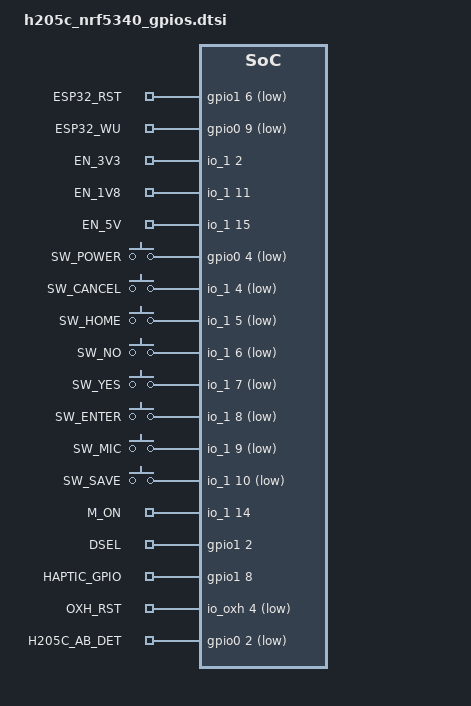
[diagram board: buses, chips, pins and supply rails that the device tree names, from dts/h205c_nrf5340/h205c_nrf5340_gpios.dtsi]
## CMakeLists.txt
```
# Copyright (c) 2021 Acme CPU

cmake_minimum_required(VERSION 3.20.0)

# Add our modules directory to Zephyr Modules
list(APPEND ZEPHYR_EXTRA_MODULES ${CMAKE_CURRENT_SOURCE_DIR}/modules)

# Add our boards directory to Zephyr Boards
#list(APPEND BOARD_ROOT ${CMAKE_CURRENT_SOURCE_DIR}/boards)

set(PROJ_ROOT ${CMAKE_CURRENT_SOURCE_DIR}/)
set(DTS_ROOT ${CMAKE_CURRENT_SOURCE_DIR}/dts)

# H205C-MAIN board secure domain
set(DTC_OVERLAY_FILE "boards/h205c_nrf5340_cpuapp.overlay")
set(BOARD_ROOT ${CMAKE_CURRENT_LIST_DIR})
set(BOARD h205c_nrf5340_cpuapp)

# H205C-MAIN board non-secure domain
#set(DTC_OVERLAY_FILE "boards/h205c_nrf5340_cpuapp_ns.overlay")
#set(BOARD_ROOT ${CMAKE_CURRENT_LIST_DIR})
#set(BOARD h205c_nrf5340_cpuapp_ns)

# nRF5340-DK board
#set(DTC_OVERLAY_FILE "boards/nrf5340dk_nrf5340_cpuapp.overlay")
#set(BOARD_ROOT ${CMAKE_CURRENT_LIST_DIR})
#set(BOARD nrf5340dk_nrf5340_cpuapp)

find_package(Zephyr REQUIRED HINTS $ENV{ZEPHYR_BASE})
project(h20x_nrf5x)

#target_sources(app PRIVATE src/main.c)
add_subdirectory(src)
```

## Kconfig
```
# Copyright (c) 2022 Acme CPU

source "Kconfig"
rsource "src/Kconfig"
```

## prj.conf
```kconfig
# Copyright (c) 2022 Acme CPU

#-------------------------------------------------------------- ARM specific configs
CONFIG_FPU=y

#-------------------------------------------------------------- Main thread
CONFIG_MAIN_STACK_SIZE=4096
CONFIG_SYSTEM_WORKQUEUE_NO_YIELD=y
CONFIG_HEAP_MEM_POOL_SIZE=30720
#CONFIG_MINIMAL_LIBC_MALLOC_ARENA_SIZE=30720
CONFIG_MEM_SLAB_TRACE_MAX_UTILIZATION=y

#-------------------------------------------------------------- System monitoring - Thread analyzer configs
#CONFIG_THREAD_ANALYZER=y
#CONFIG_THREAD_ANALYZER_USE_LOG=y
#CONFIG_THREAD_ANALYZER_USE_PRINTK=y
#CONFIG_THREAD_ANALYZER_AUTO=y
#CONFIG_THREAD_ANALYZER_AUTO_INTERVAL=30

#-------------------------------------------------------------- Compiler configurations
CONFIG_NEWLIB_LIBC=y
#CONFIG_NEWLIB_LIBC_NANO=n
#CONFIG_HAS_NEWLIB_LIBC_NANO=n
CONFIG_NEWLIB_LIBC_FLOAT_PRINTF=y
CONFIG_CBPRINTF_FP_SUPPORT=y
```

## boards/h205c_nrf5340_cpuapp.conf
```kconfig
# Copyright (c) 2021 Acme CPU
# Created on: 19-Oct-2022
# Author: Rohan Dey (rohan@acmecpu.cpm)

#---------------------- Use the NFC pins are GPIOs
CONFIG_NFCT_PINS_AS_GPIOS=y

#-------------------------------------------------------------- I2C and I2C devices
CONFIG_I2C=y
CONFIG_I2C_SHELL=n

CONFIG_GPIO_PCAL9539A=y
CONFIG_GPIO_PCAL9539A_INTERRUPT=y

CONFIG_GPIO_PCA95XX=y
CONFIG_GPIO_PCA95XX_INTERRUPT=n

CONFIG_BQ25611D=y
CONFIG_BQ25611D_INTERRUPT=y

CONFIG_CMX655D=y
#CONFIG_CMX655D_INTERRUPT=y

# ---- sensors
CONFIG_SENSOR=y
CONFIG_BMI270=y
CONFIG_BMP388=y
CONFIG_BMP388_TRIGGER_NONE=y
CONFIG_LTC294X=y
CONFIG_SHMAX30101=y

#-------------------------------------------------------------- SPI and SPI devices
CONFIG_SPI=y

CONFIG_MAX30001=y
CONFIG_MAX30001_INTERRUPT_B=y
CONFIG_MAX30001_INTERRUPT_2B=y

#-------------------------------------------------------------- I2S
CONFIG_I2S=y

#-------------------------------------------------------------- UART
CONFIG_SERIAL=y
CONFIG_CONSOLE=y

CONFIG_UART_CONSOLE=y
CONFIG_STDOUT_CONSOLE=y
CONFIG_UART_INTERRUPT_DRIVEN=y
CONFIG_UART_LINE_CTRL=y

#CONFIG_USE_SEGGER_RTT=y
#CONFIG_RTT_CONSOLE=y
#CONFIG_LOG_BACKEND_RTT=y
CONFIG_LOG_BACKEND_UART=y

#-------------------------------------------------------------- ADC
CONFIG_ADC=y
CONFIG_APP_ANALOG=y
CONFIG_APP_ANALOG_VBAT_R1=2700
CONFIG_APP_ANALOG_VBAT_R2=7500
CONFIG_APP_ANALOG_VBUS_R1=4700
CONFIG_APP_ANALOG_VBUS_R2=7500

#------------ Zephyr Logger configurations
CONFIG_LOG=y
CONFIG_LOG_DEFAULT_LEVEL=3
CONFIG_LOG_MAX_LEVEL=3
CONFIG_LOG_MODE_OVERFLOW=y
CONFIG_LOG_PROCESS_THREAD=y
CONFIG_LOG_PROCESS_THREAD_SLEEP_MS=1000
CONFIG_LOG_PROCESS_THREAD_STACK_SIZE=2048
CONFIG_LOG_BUFFER_SIZE=2048
#CONFIG_LOG_PRINTK=y
#CONFIG_LOG_PRINTK_MAX_STRING_LENGTH=256
#CONFIG_LOG_STRDUP_MAX_STRING=64
CONFIG_LOG_BACKEND_SHOW_COLOR=n
CONFIG_LOG_BACKEND_FORMAT_TIMESTAMP=n

#------------ Zephyr Shell configurations
CONFIG_SHELL=y
CONFIG_SHELL_PROMPT_UART="h20x:~$ "
CONFIG_SHELL_BACKEND_SERIAL=y
CONFIG_SHELL_LOG_BACKEND=n
#CONFIG_SHELL_ECHO_STATUS=n
#CONFIG_SHELL_BACKEND_SERIAL_TX_RING_BUFFER_SIZE=128
#CONFIG_SHELL_BACKEND_SERIAL_RX_RING_BUFFER_SIZE=512
#CONFIG_BOOT_BANNER=n
CONFIG_THREAD_RUNTIME_STATS=n
#CONFIG_SHELL_HISTORY=y
#CONFIG_SHELL_HISTORY_BUFFER=256
#CONFIG_SHELL_STACK_SIZE=2048
#CONFIG_SHELL_CMD_BUFF_SIZE=128
#CONFIG_SHELL_WILDCARD=n
#CONFIG_SHELL_DYNAMIC_CMDS=n
#CONFIG_SHELL_VT100_COLORS=y
#CONFIG_SHELL_STATS=n
#CONFIG_SHELL_CMDS=y
#CONFIG_SHELL_HELP=y
#CONFIG_SHELL_TAB=y
#CONFIG_SHELL_METAKEYS=n
#CONFIG_KERNEL_SHELL=y
#CONFIG_DEVICE_SHELL=y
#CONFIG_DEVMEM_SHELL=n
#CONFIG_POSIX_CLOCK=n
#CONFIG_DATE_SHELL=n
CONFIG_SENSOR_SHELL=n

#-------------------------------------------------------------- USB configurations
CONFIG_USB_DEVICE_STACK=y
CONFIG_USB_DEVICE_PRODUCT="ACPU H20x"
CONFIG_USB_DRIVER_LOG_LEVEL_ERR=y
CONFIG_USB_CDC_ACM_LOG_LEVEL_ERR=y
#CONFIG_USB_CDC_ACM_RINGBUF_SIZE=4096

#-------------------------------------------------------------- Flash and File System configurations
# Need this when storage is on flash
CONFIG_MPU_ALLOW_FLASH_WRITE=y
CONFIG_FLASH=y
CONFIG_FLASH_MAP=y
CONFIG_FLASH_PAGE_LAYOUT=y

CONFIG_FILE_SYSTEM=y
CONFIG_FILE_SYSTEM_LITTLEFS=y

#-------------------------------------------------------------- Other devices
CONFIG_BUZZER_GENERIC=n
CONFIG_H205C_POWER=y

#--------------------------------------------------------------
#-------------------------------------------------------------- Application configurations
#--------------------------------------------------------------
CONFIG_H205C_POWER=y
#CONFIG_APP_WIPE_STORAGE=y

CONFIG_APP_HAS_PRESSURE_SENSOR=y
CONFIG_APP_HAS_TEMPERATURE_SENSOR=y
CONFIG_APP_HAS_IMU_SENSOR=y
CONFIG_APP_HAS_PPG_SENSOR=y
CONFIG_APP_HAS_EKG_SENSOR=y

CONFIG_APP_BATTERY_CHARGE_CURRENT_LIMIT=500
CONFIG_APP_BATTERY_CHARGER_INPUT_CURRENT_LIMIT=500
CONFIG_APP_BATTERY_MAX_CAPACITY_MAH=6600

CONFIG_PUSH_SWITCH_MAX_COUNT=8

CONFIG_LIB_AUDIO=y
```

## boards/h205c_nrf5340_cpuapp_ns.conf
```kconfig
# Copyright (c) 2021 Acme CPU
# Created on: 19-Oct-2022
# Author: Rohan Dey (rohan@acmecpu.cpm)

#---------------------- Use the NFC pins are GPIOs
CONFIG_NFCT_PINS_AS_GPIOS=y

#-------------------------------------------------------------- I2C and I2C devices
CONFIG_I2C=y
CONFIG_I2C_SHELL=n

CONFIG_GPIO_PCAL9539A=y
CONFIG_GPIO_PCAL9539A_INTERRUPT=y

CONFIG_GPIO_PCA95XX=y
CONFIG_GPIO_PCA95XX_INTERRUPT=n

CONFIG_BQ25611D=y
CONFIG_BQ25611D_INTERRUPT=y

CONFIG_CMX655D=y
#CONFIG_CMX655D_INTERRUPT=y

# ---- sensors
CONFIG_SENSOR=y
CONFIG_BMI270=y
CONFIG_BMP388=y
CONFIG_BMP388_TRIGGER_NONE=y
CONFIG_LTC294X=y
CONFIG_SHMAX30101=y

#-------------------------------------------------------------- SPI and SPI devices
CONFIG_SPI=y

CONFIG_MAX30001=y
CONFIG_MAX30001_INTERRUPT_B=y
CONFIG_MAX30001_INTERRUPT_2B=y

#-------------------------------------------------------------- I2S
CONFIG_I2S=y

#-------------------------------------------------------------- UART
CONFIG_SERIAL=y
CONFIG_CONSOLE=y

CONFIG_UART_CONSOLE=y
CONFIG_STDOUT_CONSOLE=y
CONFIG_UART_INTERRUPT_DRIVEN=y
CONFIG_UART_LINE_CTRL=y

#CONFIG_USE_SEGGER_RTT=y
#CONFIG_RTT_CONSOLE=y
#CONFIG_LOG_BACKEND_RTT=y
CONFIG_LOG_BACKEND_UART=y

#------------ Zephyr Logger configurations
CONFIG_LOG=y
CONFIG_LOG_DEFAULT_LEVEL=3
CONFIG_LOG_MAX_LEVEL=3
CONFIG_LOG_MODE_OVERFLOW=y
CONFIG_LOG_PROCESS_THREAD=y
CONFIG_LOG_PROCESS_THREAD_SLEEP_MS=1000
CONFIG_LOG_PROCESS_THREAD_STACK_SIZE=2048
CONFIG_LOG_BUFFER_SIZE=2048
#CONFIG_LOG_PRINTK=y
#CONFIG_LOG_PRINTK_MAX_STRING_LENGTH=256
#CONFIG_LOG_STRDUP_MAX_STRING=64
CONFIG_LOG_BACKEND_SHOW_COLOR=n
CONFIG_LOG_BACKEND_FORMAT_TIMESTAMP=n

#------------ Zephyr Shell configurations
CONFIG_SHELL=y
CONFIG_SHELL_PROMPT_UART="h20x:~$ "

#-------------------------------------------------------------- USB configurations
CONFIG_USB_DEVICE_STACK=y
CONFIG_USB_DEVICE_PRODUCT="ACPU H20x"
CONFIG_USB_DRIVER_LOG_LEVEL_ERR=y
CONFIG_USB_CDC_ACM_LOG_LEVEL_ERR=y
#CONFIG_USB_CDC_ACM_RINGBUF_SIZE=4096

#-------------------------------------------------------------- Flash and File System configurations
# Need this when storage is on flash
CONFIG_MPU_ALLOW_FLASH_WRITE=y
CONFIG_FLASH=y
CONFIG_FLASH_MAP=y
CONFIG_FLASH_PAGE_LAYOUT=y

CONFIG_FILE_SYSTEM=y
CONFIG_FILE_SYSTEM_LITTLEFS=y

#-------------------------------------------------------------- Other devices
CONFIG_BUZZER_GENERIC=y
CONFIG_H205C_POWER=y

#--------------------------------------------------------------
#-------------------------------------------------------------- Application configurations
#--------------------------------------------------------------
CONFIG_H205C_POWER=y
#CONFIG_APP_WIPE_STORAGE=y

CONFIG_APP_HAS_PRESSURE_SENSOR=y
CONFIG_APP_HAS_TEMPERATURE_SENSOR=y
CONFIG_APP_HAS_IMU_SENSOR=y
CONFIG_APP_HAS_PPG_SENSOR=y
```

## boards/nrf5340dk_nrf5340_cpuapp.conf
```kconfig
# Copyright (c) 2021 Acme CPU
# Created on: 19-Oct-2022
# Author: Rohan Dey (rohan@acmecpu.cpm)

#---------------------- Use the NFC pins are GPIOs
CONFIG_NFCT_PINS_AS_GPIOS=y

#-------------------------------------------------------------- I2C and I2C devices
CONFIG_I2C=y
CONFIG_I2C_SHELL=n

#CONFIG_GPIO_PCAL9539A=y
#CONFIG_GPIO_PCAL9539A_INTERRUPT=y

#CONFIG_GPIO_PCA95XX=y
#CONFIG_GPIO_PCA95XX_INTERRUPT=n

#CONFIG_BQ25611D=y
#CONFIG_BQ25611D_INTERRUPT=y

#CONFIG_CMX655D=y
#CONFIG_CMX655D_INTERRUPT=y

# ---- sensors
CONFIG_SENSOR=y
#CONFIG_BMI270=y
#CONFIG_BMP388=y
#CONFIG_BMP388_TRIGGER_NONE=y
#CONFIG_LTC294X=y
CONFIG_SHMAX30101=y

#-------------------------------------------------------------- SPI and SPI devices
#CONFIG_SPI=y

#CONFIG_MAX30001=y
#CONFIG_MAX30001_INTERRUPT_B=y
#CONFIG_MAX30001_INTERRUPT_2B=y

#-------------------------------------------------------------- I2S
#CONFIG_I2S=y

#-------------------------------------------------------------- UART
CONFIG_SERIAL=y
CONFIG_CONSOLE=y

CONFIG_UART_CONSOLE=y
CONFIG_STDOUT_CONSOLE=y
CONFIG_UART_INTERRUPT_DRIVEN=y
CONFIG_UART_LINE_CTRL=y

#CONFIG_USE_SEGGER_RTT=y
#CONFIG_RTT_CONSOLE=y
#CONFIG_LOG_BACKEND_RTT=y
CONFIG_LOG_BACKEND_UART=y

#------------ Zephyr Logger configurations
CONFIG_LOG=y
CONFIG_LOG_DEFAULT_LEVEL=3
CONFIG_LOG_MAX_LEVEL=3
CONFIG_LOG_MODE_OVERFLOW=y
CONFIG_LOG_PROCESS_THREAD=y
CONFIG_LOG_PROCESS_THREAD_SLEEP_MS=1000
CONFIG_LOG_PROCESS_THREAD_STACK_SIZE=3072
CONFIG_LOG_BUFFER_SIZE=3072
#CONFIG_LOG_PRINTK=y
#CONFIG_LOG_PRINTK_MAX_STRING_LENGTH=256
#CONFIG_LOG_STRDUP_MAX_STRING=64
CONFIG_LOG_BACKEND_SHOW_COLOR=n
CONFIG_LOG_BACKEND_FORMAT_TIMESTAMP=n

#------------ Zephyr Shell configurations
CONFIG_SHELL=y
CONFIG_SHELL_PROMPT_UART="h20x:~$ "

#-------------------------------------------------------------- USB configurations
CONFIG_USB_DEVICE_STACK=y
CONFIG_USB_DEVICE_PRODUCT="ACPU H20x"
CONFIG_USB_DRIVER_LOG_LEVEL_ERR=y
CONFIG_USB_CDC_ACM_LOG_LEVEL_ERR=y
#CONFIG_USB_CDC_ACM_RINGBUF_SIZE=4096

#-------------------------------------------------------------- Flash and File System configurations
# Need this when storage is on flash
#CONFIG_MPU_ALLOW_FLASH_WRITE=y
#CONFIG_FLASH=y
#CONFIG_FLASH_MAP=y
#CONFIG_FLASH_PAGE_LAYOUT=y

#CONFIG_FILE_SYSTEM=y
#CONFIG_FILE_SYSTEM_LITTLEFS=y

#--------------------------------------------------------------
#-------------------------------------------------------------- Application configurations
#--------------------------------------------------------------
#CONFIG_H205C_POWER=y
#CONFIG_APP_WIPE_STORAGE=y

#CONFIG_APP_HAS_PRESSURE_SENSOR=y
#CONFIG_APP_HAS_TEMPERATURE_SENSOR=y
#CONFIG_APP_HAS_IMU_SENSOR=y
CONFIG_APP_HAS_PPG_SENSOR=y
```

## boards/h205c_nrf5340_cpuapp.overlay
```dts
/* Copyright (c) 2021 Acme CPU
 *
 * Created on: 19-Oct-2022
 * Author: Rohan Dey (rohan@acmecpu.com)
 */

&zephyr_udc0 {
	cdc_acm_uart0: cdc_acm_uart0 {
		compatible = "zephyr,cdc-acm-uart";
		label = "CDC_ACM_0";
	};
};

/ {
	chosen {
		zephyr,shell-uart = &cdc_acm_uart0;
		/*zephyr,console = &cdc_acm_uart0;*/
		/*zephyr,flash-controller = &mt25ql256aba1;*/
	};
	aliases {
		wifi-serial = &uart0;
		audio-codec = &cmx655d;
		haptic-fb = &vibro;
	};
};

/ {
	fstab {
		compatible = "zephyr,fstab";
		lfs1: lfs1 {
			compatible = "zephyr,fstab,littlefs";
			mount-point = "/lfs1";
			/*partition = <&lfs1_part>;*/
			partition = < &storage_partition >;
			automount;
			read-size = <16>;
			prog-size = <16>;
			cache-size = <64>;
			lookahead-size = <32>;
			block-cycles = <512>;
		};
	};
};
```

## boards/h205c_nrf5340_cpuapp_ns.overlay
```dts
/* Copyright (c) 2021 Acme CPU
 *
 * Created on: 19-Oct-2022
 * Author: Rohan Dey (rohan@acmecpu.cpm)
 */

&zephyr_udc0 {
	cdc_acm_uart0: cdc_acm_uart0 {
		compatible = "zephyr,cdc-acm-uart";
		label = "CDC_ACM_0";
	};
};

/ {
	chosen {
		zephyr,shell-uart = &cdc_acm_uart0;
		/*zephyr,console = &cdc_acm_uart0;*/
		/*zephyr,flash-controller = &mt25ql256aba1;*/
	};
	aliases {
		wifi-serial = &uart0;
		audio-codec = &audio_codec_ctrl;
	};
};

/ {
	fstab {
		compatible = "zephyr,fstab";
		lfs1: lfs1 {
			compatible = "zephyr,fstab,littlefs";
			mount-point = "/lfs1";
			/*partition = <&lfs1_part>;*/
			partition = < &storage_partition >;
			automount;
			read-size = <16>;
			prog-size = <16>;
			cache-size = <64>;
			lookahead-size = <32>;
			block-cycles = <512>;
		};
	};
};
```

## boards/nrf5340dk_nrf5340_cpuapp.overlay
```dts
/* Copyright (c) 2021 Acme CPU
 *
 * Created on: 19-Oct-2022
 * Author: Rohan Dey (rohan@acmecpu.cpm)
 */

&zephyr_udc0 {
	cdc_acm_uart0: cdc_acm_uart0 {
		compatible = "zephyr,cdc-acm-uart";
		label = "CDC_ACM_0";
	};
};

/ {
	chosen {
		zephyr,shell-uart = &cdc_acm_uart0;
		/*zephyr,console = &cdc_acm_uart0;*/
		/*zephyr,flash-controller = &mt25ql256aba1;*/
	};
	aliases {
		wifi-serial = &uart0;
		/*audio-codec = &audio_codec_ctrl;*/
	};
};
/*
/ {
	fstab {
		compatible = "zephyr,fstab";
		lfs1: lfs1 {
			compatible = "zephyr,fstab,littlefs";
			mount-point = "/lfs1";

			partition = < &storage_partition >;
			automount;
			read-size = <16>;
			prog-size = <16>;
			cache-size = <64>;
			lookahead-size = <32>;
			block-cycles = <512>;
		};
	};
};
*/
&i2c1 {
	sh_oxh: shmax30101@55 {
		compatible = "maxim,shmax30101";
		reg = <0x55>;
    	reset-gpios = <&gpio0 7 GPIO_ACTIVE_LOW>;
    	mfio-gpios = <&gpio1 0 0>;
		label = "SH_MAXIM";
	};
};
```

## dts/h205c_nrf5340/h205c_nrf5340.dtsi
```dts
/*
 * Copyright (c) 2022 Acme CPU
 *
 * Created on: 19-Oct-2022
 * Author: Rohan Dey (rohan@acmecpu.cpm)
 *
 */

 /*
 /{ h205c: acpu-h205c-board {

	
   };
 };*/

#include "gpio_dt_defines.dtsi"

#include "h205c_nrf5340_i2c.dtsi"
#include "h205c_nrf5340_gpios.dtsi"
#include "h205c_nrf5340_power.dtsi"
#include "h205c_nrf5340_spi4.dtsi"
#include "h205c_nrf5340_adc.dtsi"
#include "h205c_nrf5340_uart0.dtsi"
#include "h205c_nrf5340_pwm0.dtsi"
```

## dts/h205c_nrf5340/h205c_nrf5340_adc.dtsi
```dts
/*
 * Copyright (c) 2022 Acme CPU
 *
 * Created on: 7-Dec-2022
 * Author: Rohan Dey (rohan@acmecpu.cpm)
 *
 * H205C ADC channels
 *      - Channel 2 - Vbat voltage
 *      - Channel 3 - VBUS voltage
 */

/ {
	zephyr,user {
		io-channels = <&adc 2>, <&adc 3>;
	};
};

&adc {
	#address-cells = <1>;
	#size-cells = <0>;

	vbat: channel@2 {
		reg = <2>;
		zephyr,gain = "ADC_GAIN_1_6";
		zephyr,reference = "ADC_REF_INTERNAL";
		zephyr,acquisition-time = <ADC_ACQ_TIME_DEFAULT>;
		zephyr,input-positive = <NRF_SAADC_AIN2>;   /* positive input pin */
		zephyr,resolution = <12>;
	};

	vbus: channel@3 {
		reg = <3>;
		zephyr,gain = "ADC_GAIN_1_6";
		zephyr,reference = "ADC_REF_INTERNAL";
		zephyr,acquisition-time = <ADC_ACQ_TIME_DEFAULT>;
		zephyr,input-positive = <NRF_SAADC_AIN3>;   /* positive input pin */
		zephyr,resolution = <12>;
	};
};
```

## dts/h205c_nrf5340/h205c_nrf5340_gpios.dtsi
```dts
/*
 * Copyright (c) 2022 Acme CPU
 *
 * Created on: 19-Oct-2022
 * Author: Rohan Dey (rohan@acmecpu.cpm)
 *
 * H205C GPIOs
 *      - WiFi
 *      - Power
 *      - Keypad
 *      - Other
 */

/ {
	wifi_gpios {
		compatible = "gpio-keys";
	    net_rst: net_rst {
	      gpios = <&gpio1 6 (GPIO_ACTIVE_LOW)>;
	      label = "ESP32_RST";
	    };
	    
	    net_wake: net_wake {
	      gpios = <&gpio0 9 (GPIO_ACTIVE_LOW)>;
	      label = "ESP32_WU";
	    };
	};

	pwr_gpios {
		compatible = "gpio-keys";
	  en_3v3: en_3v3 {
	    gpios = <&io_1 2 (GPIO_ACTIVE_HIGH)>;
	    label = "EN_3V3";
	  };
	    
	  en_1v8: en_1v8 {
	    gpios = <&io_1 11 (GPIO_ACTIVE_HIGH)>;
	    label = "EN_1V8";
	  };
	
    en_5v: en_5v {
      gpios = <&io_1 15 (GPIO_ACTIVE_HIGH)>;
      label = "EN_5V";
    };
  };

  keypad {
    compatible = "gpio-keys";
    switch_1: switch_1 {
      gpios = <&gpio0 4 (GPIO_PULL_UP | GPIO_ACTIVE_LOW)>;
      label = "SW_POWER";
    };
    switch_2: switch_2 {
      gpios = <&io_1 4 (GPIO_PULL_UP | GPIO_ACTIVE_LOW)>;
      label = "SW_CANCEL";
    };
    switch_3: switch_3 {
      gpios = <&io_1 5 (GPIO_PULL_UP | GPIO_ACTIVE_LOW)>;
      label = "SW_HOME";
    };
    switch_4: switch_4 {
      gpios = <&io_1 6 (GPIO_PULL_UP | GPIO_ACTIVE_LOW)>;
      label = "SW_NO";
    };
    switch_5: switch_5 {
      gpios = <&io_1 7 (GPIO_PULL_UP | GPIO_ACTIVE_LOW)>;
      label = "SW_YES";
    };
    switch_6: switch_6 {
      gpios = <&io_1 8 (GPIO_PULL_UP | GPIO_ACTIVE_LOW)>;
      label = "SW_ENTER";
    };
    switch_7: switch_7 {
      gpios = <&io_1 9 (GPIO_PULL_UP | GPIO_ACTIVE_LOW)>;
      label = "SW_MIC";
    };
    switch_8: switch_8 {
      gpios = <&io_1 10 (GPIO_PULL_UP | GPIO_ACTIVE_LOW)>;
      label = "SW_SAVE";
    };
  };

  other_gpios {
	  compatible = "gpio-keys";
	  vmeasure_en: vmeasure_en {
	    gpios = <&io_1 14 (GPIO_ACTIVE_HIGH)>;
	    label = "M_ON";
	  };
    usb_dsel: usb_dsel {
      gpios = <&gpio1 2 (GPIO_ACTIVE_HIGH)>;
      label = "DSEL";
    };
    haptic_gpio: haptic_gpio {
      gpios = <&gpio1 8 (GPIO_ACTIVE_HIGH)>;
      label = "HAPTIC_GPIO";
    };
    oxh_rst: oxh_rst {
	    gpios = <&io_oxh 4 (GPIO_ACTIVE_LOW)>;
	    label = "OXH_RST";
	  };
    h205c_ab_det: h205c_ab_det {
      gpios = <&gpio0 2 (GPIO_PULL_UP | GPIO_ACTIVE_LOW)>;
      label = "H205C_AB_DET";
    };
  };
};
```

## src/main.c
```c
/*
 * Copyright (c) 2022 Acme CPU
 *
 *  Created on: 20-Oct-2022
 *      Author: Rohan Dey (rohan@acmecpu.cpm)
 */

// #include <zephyr.h>
#include <zephyr/kernel.h>
#include <zephyr/device.h>
#include <zephyr/logging/log.h>
LOG_MODULE_REGISTER(main);

#if CONFIG_USB_DEVICE_STACK
#include <zephyr/usb/usb_device.h>
#endif

#include <zephyr/drivers/gpio.h>
#if (!CONFIG_BOARD_NRF5340DK_NRF5340_CPUAPP)
	#include "app_utils/app_utils.h"
	#include "app_audio/app_audio.h"
	#include "app_storage/app_storage.h"
#endif
#include "app_sensor/app_sensor.h"
#if (CONFIG_APP_HAS_PPG_SENSOR)
	#include "shmax30101.h"
#endif
#include "app_analog/app_analog.h"
#include "app_uart/app_uart.h"
#include "app_haptic/app_haptic.h"
#include "app_battery/app_battery.h"
#include "app_push_switch/app_push_switch.h"
#include "lib_push_switch/lib_push_switch.h"

// #define CHECK_OXIMETER			1
// #define CHECK_ADC				1
// #define CHECK_UART_M2M			1
// #define CHECK_HAPTIC				1
// #define CHECK_H205C_AB_DET		1
// #define CHECK_SWITCH_POLL			1

/* oxh_rst */
// #define OXH_RST_DEV_NAME 	DT_GPIO_LABEL(DT_NODELABEL(oxh_rst), gpios)
#define OXH_RST_PIN			DT_GPIO_PIN(DT_NODELABEL(oxh_rst), gpios)
#define OXH_RST_FLAGS		(GPIO_OUTPUT_INACTIVE | GPIO_PUSH_PULL | DT_GPIO_FLAGS(DT_NODELABEL(oxh_rst), gpios))

/* h205c_ab_det */
#define H205C_AB_DET_PIN	DT_GPIO_PIN(DT_NODELABEL(h205c_ab_det), gpios)
#define H205C_AB_DET_FLAGS	DT_GPIO_FLAGS(DT_NODELABEL(h205c_ab_det), gpios)

static void main_print_message()
{
	printk("*** Starting Acme CPU H20X application: %s ***\n\n", CONFIG_BOARD);
}

int main_app_init()
{
	int ret = 0;

#if (!CONFIG_BOARD_NRF5340DK_NRF5340_CPUAPP)
	/* initialize storage */
	ret |= app_storage_init();
	
	/* initialize audio */
	ret |= app_audio_init();
#endif	/*(!CONFIG_BOARD_NRF5340DK_NRF5340_CPUAPP)*/

	/* initialize sensors */
	ret |= app_sensor_init();

	/* initialize adc channels */
	ret |= app_analog_init();

	/* initialize uart_m2m */
	ret |= app_uart_m2m_com_init();

	/* initialize haptic feedback */
	ret |= app_haptic_init();

	/* initialize the charger and fuel gauge app */
	ret |= app_battery_init();

	/* initialize push switches */
	ret |= app_push_switch_init();

	return ret;
}

void main(void)
{
	int ret = 0;

	main_print_message();

	// ret = app_utils_power_enable();
	// if (ret < 0) {
	// 	LOG_ERR("enable_power failed");
	// 	return;
	// }

#if (CONFIG_BOARD_H205C_NRF5340_CPUAPP || CONFIG_BOARD_H205C_NRF5340_CPUAPP_NS)
	/* select charger USB */
	ret = app_utils_usb_channel_select(USB_DATA_CHANNEL_CHARGER);
	// ret = app_utils_usb_channel_select(USB_DATA_CHANNEL_HOST);
	if (ret < 0) {
		LOG_ERR("app_utils_usb_channel_select failed");
		return;
	}
#endif

#if CONFIG_USB_DEVICE_STACK
	const struct device *dev = DEVICE_DT_GET_ONE(zephyr_cdc_acm_uart);
	if (!device_is_ready(dev)) {
		LOG_ERR("CDC ACM device not ready");
		return;
	}

	ret = usb_enable(NULL);
	if (ret != 0) {
		LOG_ERR("Failed to enable USB");
		return;
	}
#endif	/* CONFIG_USB_DEVICE_STACK */

	/* initialize applications */
	ret = main_app_init();
	if (ret == 0) {
		LOG_INF("Application init successful");
	} else {
		LOG_ERR("Application init failed");
		// return;
	}

#ifdef CHECK_H205C_AB_DET
	const struct device *h205c_ab_det_dev = DEVICE_DT_GET(DT_GPIO_CTLR(DT_NODELABEL(h205c_ab_det), gpios));
	if (h205c_ab_det_dev == NULL) {
		LOG_ERR("Device not found: %s", h205c_ab_det_dev->name);
		return;
	}
	ret = gpio_pin_configure(h205c_ab_det_dev, H205C_AB_DET_PIN, (GPIO_INPUT | H205C_AB_DET_FLAGS));
	if (ret < 0) {
		LOG_ERR("gpio_pin_configure failed");
		return;
	}
#endif

	while (1) {
#ifdef CHECK_OXIMETER
		uint8_t sen_ids[10] = {0};
		int count=0;
		struct sensor_value val[3];
		float hr=0, spo2=0;
		uint8_t status=0, hr_conf=0;

		/* get hr and spo2 */
		ret = app_sensor_chan_to_id(SENSOR_CHAN_HR_AND_SPO2, sen_ids, &count);
		if (ret < 0) {
			k_sleep(K_MSEC(100));
			continue;
		}
		ret = app_sensor_value_get(sen_ids[0], val);
		if (!ret) {
			status = val[2].val1;
			if (status == 3) {			/* finger detected */
				hr_conf = val[0].val2;//*0.392157;
				// if ((hr_conf > 90.0)) {
					hr = val[0].val1/10;	// TODO add a validation range
					spo2 = val[1].val1/10;	// TODO add a validation range

					LOG_INF("%0.1f,%d,%0.1f,%d", hr, hr_conf, spo2, status);
				// }
			} else if (status == 0) {	/* no object detected */
				// LOG_ERR("nod");
			}
		} else {
			LOG_ERR("error getting sensor data!");
			// TODO reset the sensor
		}

		k_sleep(K_MSEC(100));
#endif

#ifdef CHECK_ADC
		int32_t vbat_mv, vbus_mv;
		ret = app_analog_vbat_mv_get(&vbat_mv);
		// LOG_INF("VBAT = %d, ret = %d", vbat_mv, ret);
		ret = app_analog_vbus_mv_get(&vbus_mv);
		LOG_INF("VBAT = %d, VBUS = %d, ret = %d", vbat_mv, vbus_mv, ret);

		k_sleep(K_MSEC(1000));
#endif

#ifdef CHECK_UART_M2M
	app_uart_get_and_print();
#endif

#ifdef CHECK_HAPTIC
	app_haptic_on();
	k_sleep(K_MSEC(1000));
	app_haptic_off();
	k_sleep(K_MSEC(1000));
#endif

#ifdef CHECK_H205C_AB_DET
	ret = gpio_pin_get_raw(h205c_ab_det_dev, H205C_AB_DET_PIN);
	if (ret == 0) {
		LOG_INF("H205C AB connected");
	} else if (ret == 1) {
		LOG_INF("H205C AB disconnected");
	}
	k_sleep(K_MSEC(5000));
#endif

#ifdef CHECK_SWITCH_POLL
	if (lib_push_switch_state_get(BSP_MEMBR_SWITCH_DEVICE_MIC, BSP_MEMBR_SWITCH_PIN_MIC) == SWITCH_ASSERTED) {
		lib_push_switch_poll_handler(BSP_MEMBR_SWITCH_DEVICE_MIC, BSP_MEMBR_SWITCH_MASK_MIC, BSP_MEMBR_SWITCH_PIN_MIC);
	}
	k_sleep(K_MSEC(100));
#endif
	k_sleep(K_MSEC(1000));
	}
}
```
